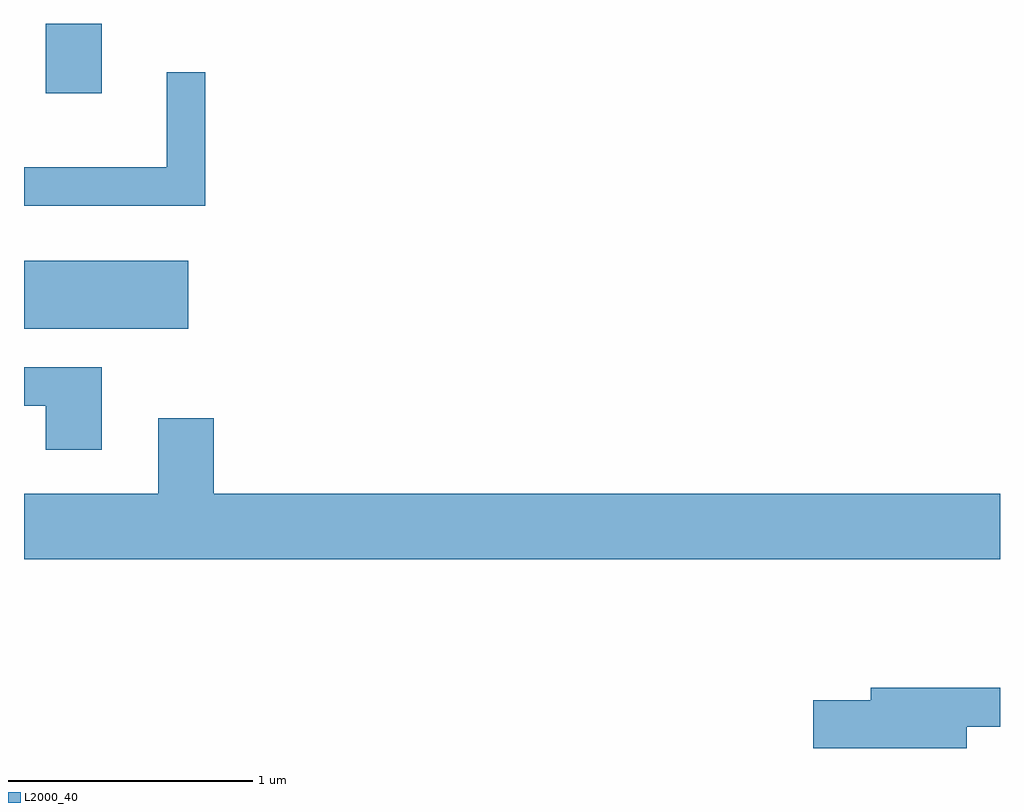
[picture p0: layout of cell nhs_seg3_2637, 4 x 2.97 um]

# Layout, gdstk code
import gdstk
lib = gdstk.Library(unit=1e-6, precision=1e-09)
def R(c, l, rs):  # rectangles x0, y0, x1, y1
    for r in rs: c.add(gdstk.rectangle(r[:2], r[2:], *l))
def P(c, l, *ps):  # polygons
    for p in ps: c.add(gdstk.Polygon(p, *l))
L2000_40 = (2000, 40)

nhs_seg3_2637 = lib.new_cell('nhs_seg3_2637')
R(nhs_seg3_2637, L2000_40, [(261.611,1224.641,262.284,1224.919), (261.701,1225.606,261.929,1225.892)])
P(nhs_seg3_2637, L2000_40, [(262.354,1225.693),(262.196,1225.693),(262.196,1225.304),(261.611,1225.304),(261.611,1225.146),(262.354,1225.146)],
  [(261.929,1224.484),(261.611,1224.484),(261.611,1224.326),(261.701,1224.326),(261.701,1224.146),(261.929,1224.146)],
  [(265.611,1223.964),(262.389,1223.964),(262.389,1224.274),(262.161,1224.274),(262.161,1223.964),(261.611,1223.964),(261.611,1223.696),(265.611,1223.696)],
  [(265.474,1223.011),(265.611,1223.011),(265.611,1223.169),(265.081,1223.169),(265.081,1223.119),(264.846,1223.119),(264.846,1222.921),(265.474,1222.921)])

lib.write_gds('nhs_seg3_2637.gds')
